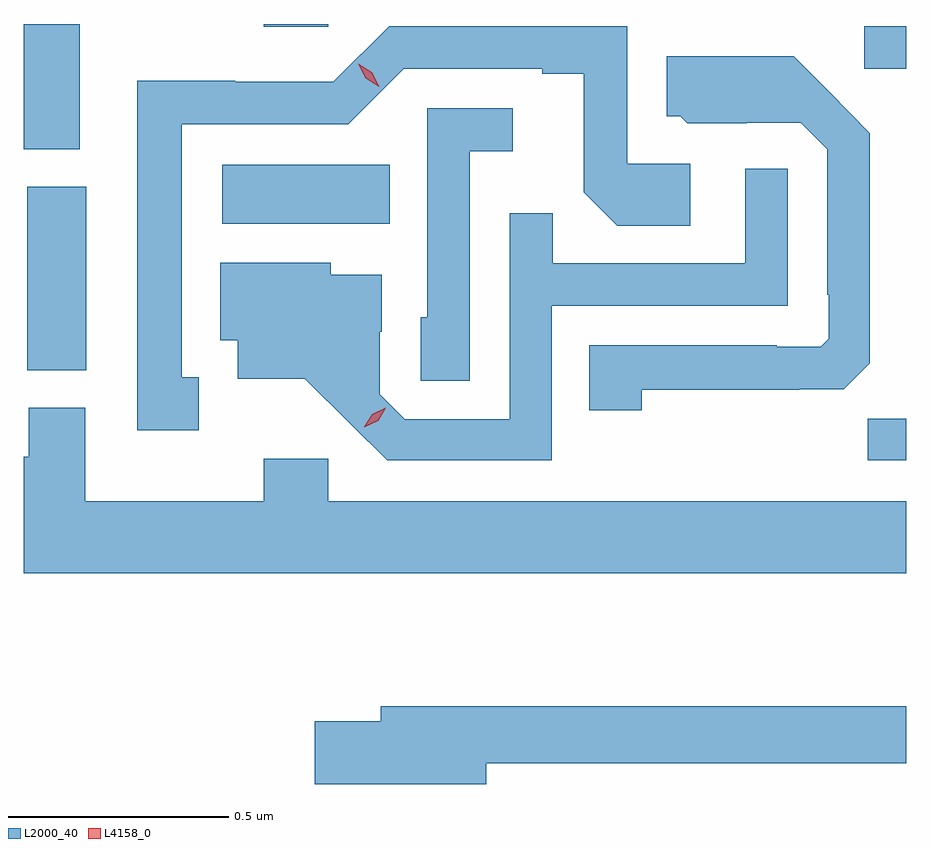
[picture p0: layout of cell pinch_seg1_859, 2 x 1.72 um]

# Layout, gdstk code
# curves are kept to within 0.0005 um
import gdstk
lib = gdstk.Library(unit=1e-6, precision=1e-09)
def R(c, l, rs):  # rectangles x0, y0, x1, y1
    for r in rs: c.add(gdstk.rectangle(r[:2], r[2:], *l))
def P(c, l, *ps):  # polygons
    for p in ps: c.add(gdstk.Polygon(p, *l))
L2000_40 = (2000, 40)
L4158_0 = (4158, 0)

pinch_seg1_859 = lib.new_cell('pinch_seg1_859')
R(pinch_seg1_859, L2000_40, [(486.268,562.644,486.356,562.739), (484.364,562.849,484.498,563.264), (484.806,563.18,485.186,563.314), (484.356,563.349,484.483,563.633), (486.261,563.532,486.356,563.628), (484.9,563.627,485.046,563.633)])
P(pinch_seg1_859, L2000_40, [(484.753,562.833),(484.714,562.833),(484.714,563.406),(485.091,563.406),(485.217,563.532),(485.531,563.532),(485.531,563.52),(485.625,563.52),(485.625,563.252),(485.701,563.176),(485.866,563.176),(485.866,563.316),(485.724,563.316),(485.724,563.628),(485.184,563.628),(485.058,563.502),(484.836,563.502),(484.836,563.504),(484.613,563.504),(484.613,562.713),(484.753,562.713)],
  [(485.757,562.804),(486.113,562.804),(486.113,562.805),(486.214,562.805),(486.273,562.864),(486.273,563.386),(486.101,563.56),(485.813,563.56),(485.813,563.424),(485.844,563.424),(485.86,563.408),(485.994,563.408),(485.994,563.409),(486.117,563.409),(486.177,563.349),(486.177,563.02),(486.18,563.02),(486.18,562.92),(486.162,562.902),(486.062,562.902),(486.062,562.905),(485.638,562.905),(485.638,562.758),(485.757,562.758)],
  [(485.367,563.345),(485.464,563.345),(485.464,563.442),(485.271,563.442),(485.271,562.968),(485.256,562.968),(485.256,562.825),(485.367,562.825)],
  [(485.553,562.995),(486.087,562.995),(486.087,563.305),(485.991,563.305),(485.991,563.091),(485.555,563.091),(485.555,563.204),(485.457,563.204),(485.457,562.737),(485.22,562.737),(485.163,562.794),(485.163,562.936),(485.167,562.936),(485.167,563.065),(485.052,563.065),(485.052,563.092),(484.802,563.092),(484.802,562.916),(484.841,562.916),(484.841,562.829),(484.993,562.829),(485.18,562.644),(485.553,562.644)],
  [(486.356,562.552),(485.046,562.552),(485.046,562.648),(484.9,562.648),(484.9,562.552),(484.495,562.552),(484.495,562.764),(484.367,562.764),(484.367,562.653),(484.356,562.653),(484.356,562.388),(486.356,562.388)],
  [(485.404,561.958),(486.356,561.958),(486.356,562.087),(485.165,562.087),(485.165,562.053),(485.016,562.053),(485.016,561.911),(485.404,561.911)])
P(pinch_seg1_859, L4158_0, [(485.162,563.491),(485.131,563.51),(485.114,563.543),(485.114,563.543),(485.114,563.543),(485.145,563.524),(485.162,563.491),(485.162,563.491)],
  [(485.128,562.719),(485.128,562.72),(485.146,562.749),(485.177,562.764),(485.177,562.764),(485.177,562.763),(485.159,562.734),(485.128,562.719)])

lib.write_gds('pinch_seg1_859.gds')
